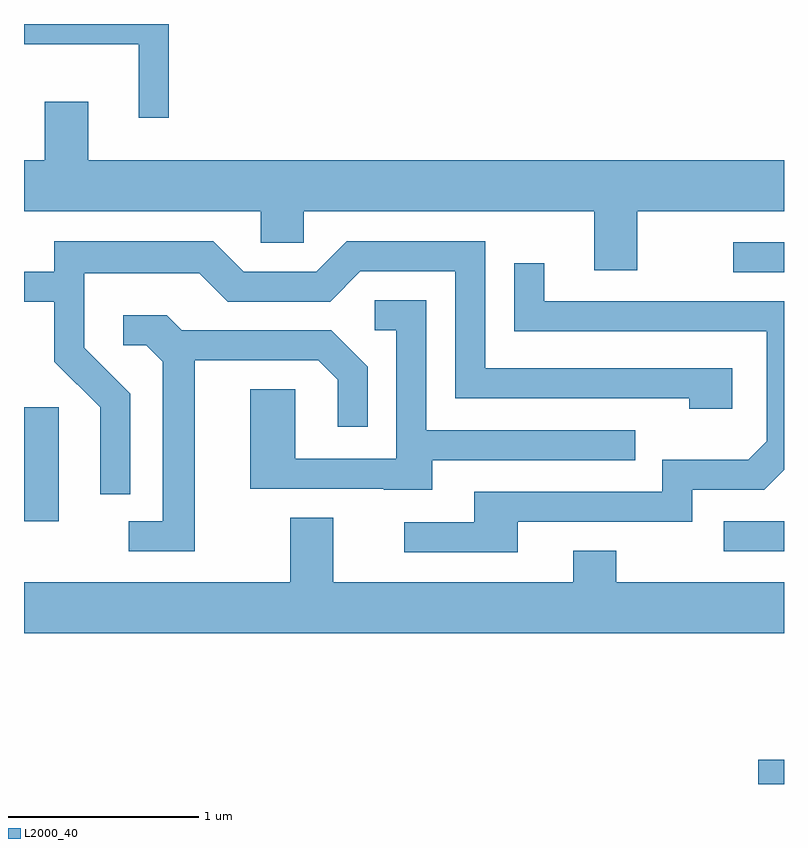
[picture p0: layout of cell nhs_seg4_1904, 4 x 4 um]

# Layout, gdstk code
import gdstk
lib = gdstk.Library(unit=1e-6, precision=1e-09)
def R(c, l, rs):  # rectangles x0, y0, x1, y1
    for r in rs: c.add(gdstk.rectangle(r[:2], r[2:], *l))
def P(c, l, *ps):  # polygons
    for p in ps: c.add(gdstk.Polygon(p, *l))
L2000_40 = (2000, 40)

nhs_seg4_1904 = lib.new_cell('nhs_seg4_1904')
R(nhs_seg4_1904, L2000_40, [(245.476,1253.982,245.611,1254.109), (245.293,1255.206,245.611,1255.364), (241.611,1255.366,241.794,1255.964), (245.343,1256.676,245.611,1256.834)])
P(nhs_seg4_1904, L2000_40, [(242.374,1257.982),(241.611,1257.982),(241.611,1257.876),(242.216,1257.876),(242.216,1257.488),(242.374,1257.488)],
  [(244.839,1256.996),(245.611,1256.996),(245.611,1257.264),(241.949,1257.264),(241.949,1257.574),(241.721,1257.574),(241.721,1257.264),(241.611,1257.264),(241.611,1256.996),(242.856,1256.996),(242.856,1256.831),(243.084,1256.831),(243.084,1256.996),(244.611,1256.996),(244.611,1256.686),(244.839,1256.686)],
  [(242.169,1256.037),(241.929,1256.277),(241.929,1256.671),(242.534,1256.671),(242.684,1256.521),(243.222,1256.521),(243.382,1256.681),(243.881,1256.681),(243.881,1256.011),(245.111,1256.011),(245.111,1255.956),(245.339,1255.956),(245.339,1256.169),(244.039,1256.169),(244.039,1256.839),(243.309,1256.839),(243.149,1256.679),(242.767,1256.679),(242.607,1256.839),(241.771,1256.839),(241.771,1256.679),(241.611,1256.679),(241.611,1256.521),(241.771,1256.521),(241.771,1256.204),(242.011,1255.964),(242.011,1255.508),(242.169,1255.508)],
  [(244.209,1255.361),(245.129,1255.361),(245.129,1255.531),(245.507,1255.531),(245.611,1255.636),(245.611,1256.524),(244.349,1256.524),(244.349,1256.723),(244.191,1256.723),(244.191,1256.366),(245.521,1256.366),(245.521,1255.787),(245.424,1255.689),(244.971,1255.689),(244.971,1255.519),(243.981,1255.519),(243.981,1255.359),(243.613,1255.359),(243.613,1255.201),(244.209,1255.201)],
  [(243.759,1255.686),(244.828,1255.686),(244.828,1255.844),(243.729,1255.844),(243.729,1256.529),(243.458,1256.529),(243.458,1256.371),(243.571,1256.371),(243.571,1255.694),(243.039,1255.694),(243.039,1256.059),(242.801,1256.059),(242.801,1255.536),(243.505,1255.536),(243.505,1255.531),(243.759,1255.531)],
  [(242.509,1256.211),(243.159,1256.211),(243.261,1256.109),(243.261,1255.863),(243.419,1255.863),(243.419,1256.177),(243.227,1256.369),(242.442,1256.369),(242.362,1256.449),(242.133,1256.449),(242.133,1256.291),(242.254,1256.291),(242.341,1256.204),(242.341,1255.364),(242.163,1255.364),(242.163,1255.206),(242.509,1255.206)],
  [(245.611,1255.044),(244.729,1255.044),(244.729,1255.209),(244.501,1255.209),(244.501,1255.044),(243.239,1255.044),(243.239,1255.384),(243.011,1255.384),(243.011,1255.044),(241.611,1255.044),(241.611,1254.776),(245.611,1254.776)])

lib.write_gds('nhs_seg4_1904.gds')
